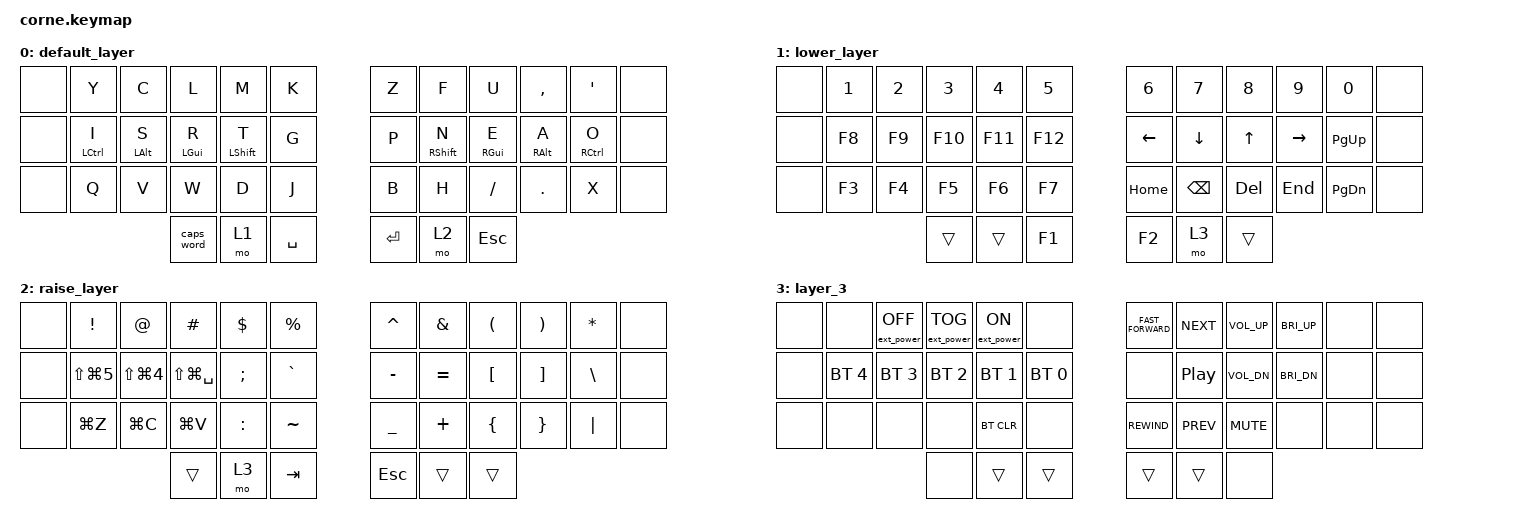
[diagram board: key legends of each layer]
/*
 * Copyright (c) 2020 The ZMK Contributors
 *
 * SPDX-License-Identifier: MIT
 */

#include <behaviors.dtsi>
#include <dt-bindings/zmk/bt.h>
#include <dt-bindings/zmk/ext_power.h>
#include <dt-bindings/zmk/keys.h>

/ {
    behaviors {
        homerow_mods: homerow_mods {
            compatible = "zmk,behavior-hold-tap";
            label = "HOMEROW_MODS";
            bindings =
                <&kp>,
                <&kp>;

            #binding-cells = <2>;
            tapping-term-ms = <300>;
            quick-tap-ms = <0>;
            flavor = "tap-preferred";
        };
        shift_layer: shift_layer {
            compatible = "zmk,behavior-hold-tap";
            label = "SHIFT_LAYER";
            bindings =
                <&kp>,
                <&kp>;

            #binding-cells = <2>;
            tapping-term-ms = <300>;
            quick-tap-ms = <0>;
            flavor = "tap-preferred";
            retro-tap;
        };
        homerow_layers: homerow_layers {
            compatible = "zmk,behavior-hold-tap";
            label = "HOMEROW_LAYERS";
            bindings =
                <&kp>,
                <&kp>;

            #binding-cells = <2>;
            tapping-term-ms = <220>;
            quick-tap-ms = <0>;
            flavor = "tap-preferred";
        };
        hold_tap: hold_tap {
            compatible = "zmk,behavior-hold-tap";
            label = "HOLD_TAP";
            bindings =
                <&kp>,
                <&kp>;

            #binding-cells = <2>;
            tapping-term-ms = <190>;
            quick-tap-ms = <0>;
            flavor = "tap-preferred";
        };
    };

    keymap {
        compatible = "zmk,keymap";

        default_layer {
            // -----------------------------------------------------------------------------------------
            // |  TAB |  Q  |  W  |  E  |  R  |  T  |   |  Y  |  U   |  I  |  O  |  P  | BKSP |
            // | CTRL |  A  |  S  |  D  |  F  |  G  |   |  H  |  J   |  K  |  L  |  ;  |  '   |
            // | SHFT |  Z  |  X  |  C  |  V  |  B  |   |  N  |  M   |  ,  |  .  |  /  | ESC  |
            //                    | GUI | LWR | SPC |   | ENT | RSE  | ALT |

            bindings = <
&none                  &kp Y                     &kp C                     &kp L                       &kp M      &kp K      &kp Z                   &kp F                      &kp U                  &kp COMMA                &kp SQT  &none
&none  &homerow_mods LCTRL I  &homerow_mods LEFT_ALT S  &homerow_mods LEFT_GUI R  &homerow_mods LEFT_SHIFT T      &kp G      &kp P  &homerow_mods RSHIFT N  &homerow_mods RIGHT_GUI E  &homerow_mods RIGHT_ALT A  &homerow_mods RCTRL O  &none
&none                  &kp Q                     &kp V                     &kp W                       &kp D      &kp J      &kp B                   &kp H                  &kp SLASH                    &kp DOT                  &kp X  &none
                                                                      &caps_word                       &mo 1  &kp SPACE    &kp RET                   &mo 2                    &kp ESC
            >;
        };

        lower_layer {
            // -----------------------------------------------------------------------------------------
            // |  TAB |  1  |  2  |  3  |  4  |  5  |   |  6  |  7  |  8  |  9  |  0  | BKSP |
            // | BTCLR| BT1 | BT2 | BT3 | BT4 | BT5 |   | LFT | DWN |  UP | RGT |     |      |
            // | SHFT |     |     |     |     |     |   |     |     |     |     |     |      |
            //                    | GUI |     | SPC |   | ENT |     | ALT |

            bindings = <
&none  &kp N1  &kp N2   &kp N3   &kp N4   &kp N5      &kp N6    &kp N7   &kp N8     &kp N9     &kp N0  &none
&none  &kp F8  &kp F9  &kp F10  &kp F11  &kp F12    &kp LEFT  &kp DOWN   &kp UP  &kp RIGHT  &kp PG_UP  &none
&none  &kp F3  &kp F4   &kp F5   &kp F6   &kp F7    &kp HOME  &kp BSPC  &kp DEL    &kp END  &kp PG_DN  &none
                        &trans   &trans   &kp F1      &kp F2     &mo 3   &trans
            >;
        };

        raise_layer {
            // -----------------------------------------------------------------------------------------
            // |  TAB |  !  |  @  |  #  |  $  |  %  |   |  ^  |  &  |  *  |  (  |  )  | BKSP |
            // | CTRL |     |     |     |     |     |   |  -  |  =  |  [  |  ]  |  \  |  `   |
            // | SHFT |     |     |     |     |     |   |  _  |  +  |  {  |  }  | "|" |  ~   |
            //                    | GUI |     | SPC |   | ENT |     | ALT |

            bindings = <
&none              &kp EXCL                &kp AT           &kp HASH       &kp DLLR  &kp PRCNT    &kp CARET   &kp AMPS  &kp LPAR  &kp RPAR  &kp ASTRK  &none
&none  &kp LS(LG(NUMBER_5))  &kp LS(LG(NUMBER_4))  &kp LS(LG(SPACE))  &kp SEMICOLON  &kp GRAVE    &kp MINUS  &kp EQUAL  &kp LBKT  &kp RBKT   &kp BSLH  &none
&none             &kp LG(Z)             &kp LG(C)          &kp LG(V)      &kp COLON  &kp TILDE    &kp UNDER   &kp PLUS  &kp LBRC  &kp RBRC   &kp PIPE  &none
                                                              &trans          &mo 3    &kp TAB      &kp ESC     &trans    &trans
            >;
        };

        layer_3 {
            bindings = <
&none         &none  &ext_power EP_OFF  &ext_power EP_TOG  &ext_power EP_ON         &none    &kp C_FAST_FORWARD        &kp C_NEXT  &kp C_VOL_UP  &kp C_BRI_UP  &none  &none
&none  &bt BT_SEL 4       &bt BT_SEL 3       &bt BT_SEL 2      &bt BT_SEL 1  &bt BT_SEL 0                 &none  &kp C_PLAY_PAUSE  &kp C_VOL_DN  &kp C_BRI_DN  &none  &none
&none         &none              &none              &none        &bt BT_CLR         &none          &kp C_REWIND        &kp C_PREV    &kp C_MUTE         &none  &none  &none
                                                    &none            &trans        &trans                &trans            &trans         &none
            >;
        };
    };
};
